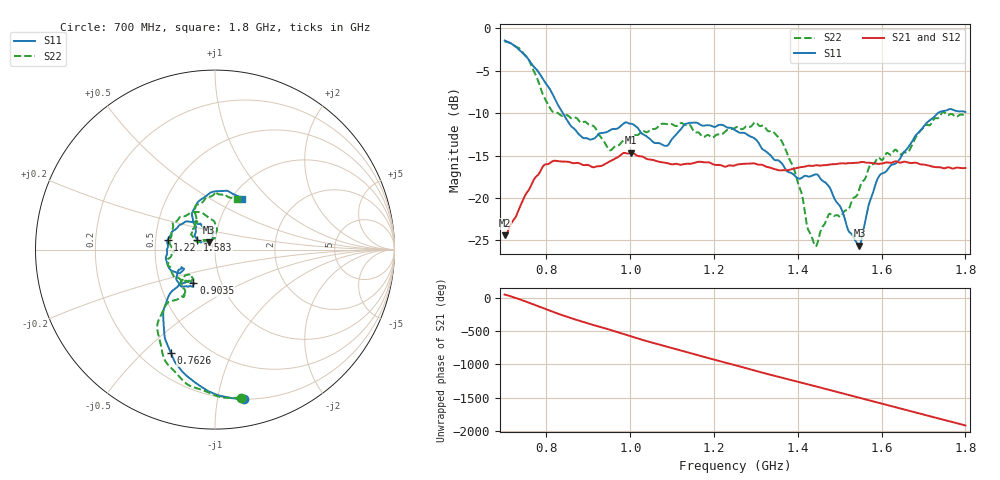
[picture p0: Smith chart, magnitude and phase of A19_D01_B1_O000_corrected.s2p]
! Created with skrf 1.9.0 (http://scikit-rf.org).
# Hz S RI R 50.0
!freq ReS11 ImS11 ReS21 ImS21 ReS12 ImS12 ReS22 ImS22
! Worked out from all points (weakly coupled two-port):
!   1601 points, 700 MHz to 1.8 GHz, reference 50 ohm
!   highest |S21| = -14.66 dB at 1.002 GHz (marker M1); lowest = -24.4 dB at 700.7 MHz (marker M2)
!   lowest |S11| = -25.6 dB at 1.547 GHz (marker M3), VSWR 1.11, Z = 46.6 + j3.74 ohm
!   |S11| at or under -10 dB: 839.1 MHz to 1.734 GHz (894.8 MHz wide, 69.6 % of centre)
!   |S22| runs from -25.7 to -1.5 dB; largest |S21 - S12| = 0.0037
!   S11 on the Smith chart (normalised r, x): 700 MHz: 0.20, -1.19; 762.6 MHz: 0.32, -0.61; 903.5 MHz: 0.74, -0.29; 1.22 GHz: 0.58, +0.06; 1.583 GHz: 0.81, +0.09; 1.8 GHz: 1.12, +0.71
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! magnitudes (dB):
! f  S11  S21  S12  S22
! 700 MHz  -1.4  -24.4  -24.2  -1.5
! 700.7 MHz  -1.4  -24.4  -24.1  -1.5
! 762.6 MHz  -4.1  -18.6  -18.6  -4.2
! 812.1 MHz  -7.5  -15.7  -15.7  -9.7
! 883.6 MHz  -12.8  -16.0  -15.9  -11.1
! 903.5 MHz  -13.1  -16.2  -16.2  -11.4
! 950.9 MHz  -12.0  -15.7  -15.7  -14.4
! 1.002 GHz  -11.2  -14.7  -14.8  -12.9
! 1.067 GHz  -13.5  -15.7  -15.7  -11.5
! 1.22 GHz  -11.4  -16.2  -16.2  -12.5
! 1.25 GHz  -12.0  -16.2  -16.1  -11.7
! 1.359 GHz  -15.8  -16.7  -16.7  -13.1
! 1.392 GHz  -17.4  -16.5  -16.5  -16.8
! 1.434 GHz  -17.4  -16.2  -16.2  -24.7
! 1.445 GHz  -17.2  -16.1  -16.2  -25.6
! 1.473 GHz  -18.6  -16.1  -16.1  -22.0
! 1.547 GHz  -25.6  -15.8  -15.8  -18.9
! 1.583 GHz  -18.8  -15.9  -16.0  -15.9
! 1.617 GHz  -16.5  -15.8  -15.8  -14.8
! 1.663 GHz  -14.1  -15.8  -15.8  -14.6
! 1.735 GHz  -10.0  -16.4  -16.4  -10.6
! 1.8 GHz  -9.9  -16.5  -16.5  -10.2
